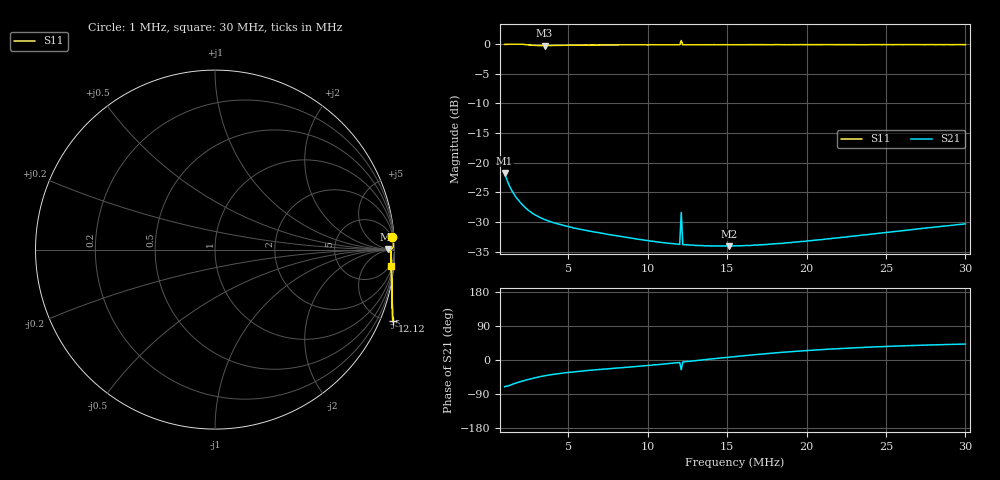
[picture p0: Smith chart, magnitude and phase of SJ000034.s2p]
!File created by NanoVNA-F V2
# Hz S RI R 50
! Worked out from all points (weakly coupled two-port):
!   301 points, 1 MHz to 30 MHz, reference 50 ohm
!   highest |S21| = -21.73 dB at 1 MHz (marker M1); lowest = -34.0 dB at 15.11 MHz (marker M2)
!   lowest |S11| = -0.3 dB at 3.513 MHz (marker M3), VSWR 57.27, Z = 2.82e+03 + j341 ohm
!   |S11| at or under -10 dB: nowhere
!   S12 and S22 are empty: the file has one direction only
!   S11 on the Smith chart (normalised r, x): 1 MHz: 4, +27; 12.12 MHz: -0.88, -5.04; 30 MHz: 4, -21
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1000000  0.9861 0.0723  0.0273 -0.0772  0 0  0 0
1193332  0.9891 0.0585  0.0249 -0.0646  0 0  0 0
1386664  0.9912 0.046  0.0248 -0.0554  0 0  0 0
1676662  0.9935 0.0288  0.0249 -0.0459  0 0  0 0
1966660  0.9936 0.0171  0.0251 -0.0393  0 0  0 0
2449990  0.9794 -0.00233  0.0249 -0.0317  0 0  0 0
2739988  0.971 -0.00123  0.0249 -0.0283  0 0  0 0
3513316  0.9657 0.00408  0.0249 -0.0221  0 0  0 0
4383310  0.9709 0.00481  0.0247 -0.0179  0 0  0 0
5833300  0.9759 -0.00291  0.0239 -0.0134  0 0  0 0
8249950  0.978 -0.0115  0.0225 -0.00851  0 0  0 0
1.06666e7  0.979 -0.0213  0.0211 -0.00446  0 0  0 0
1.201992e7  0.9802 -0.0255  0.0204 -0.00237  0 0  0 0
1.211659e7  0.9902 -0.3964  0.0345 -0.0165  0 0  0 0
1.221326e7  0.9803 -0.0255  0.0204 -0.00187  0 0  0 0
1.366325e7  0.9805 -0.0323  0.02 0.000416  0 0  0 0
1.511324e7  0.9806 -0.0375  0.0197 0.00248  0 0  0 0
1.54999e7  0.9815 -0.0395  0.0198 0.0031  0 0  0 0
1.752989e7  0.9821 -0.0476  0.0197 0.00597  0 0  0 0
2.03332e7  0.9815 -0.0563  0.0199 0.00963  0 0  0 0
2.51665e7  0.9819 -0.0725  0.0211 0.0153  0 0  0 0
2.99998e7  0.9796 -0.0894  0.0228 0.0205  0 0  0 0
